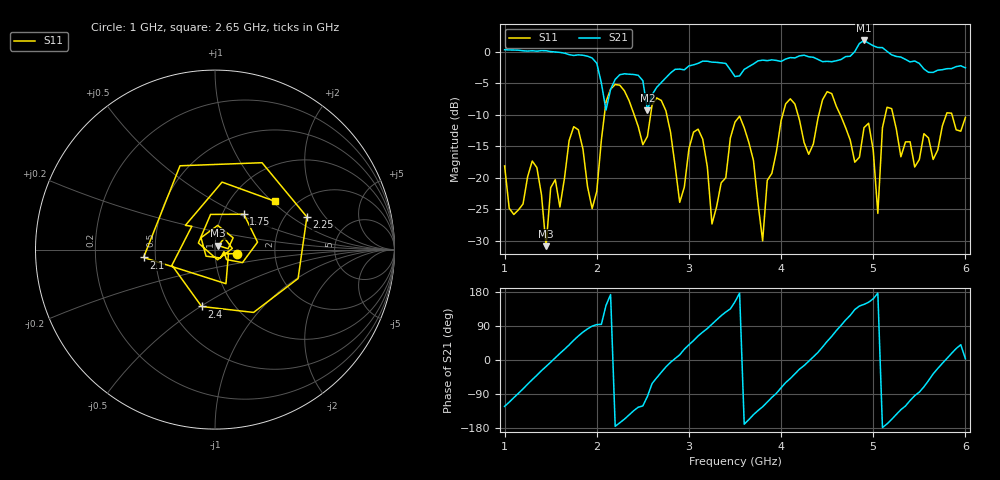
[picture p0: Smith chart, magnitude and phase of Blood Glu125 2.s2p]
! NanoVNA-App
! Date: 2024-03-21 00:08:20
! Start: 1GHz Stop: 6GHz Points: 101
! S-Parameter data: F S11 S21 S12 S22
# Hz S RI R 50
!	Frequency	S11_Real	S11_Imag	S21_Real	S21_Imag	S12_Real	S12_Imag	S22_Real	S22_Imag
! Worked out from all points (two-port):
!   101 points, 1 GHz to 6 GHz, reference 50 ohm
!   highest |S21| = 1.81 dB at 4.9 GHz (marker M1); lowest = -9.3 dB at 2.55 GHz (marker M2)
!   |S21| within 3 dB of the highest: start of sweep to 1.963 GHz; 4.653 GHz to 5.348 GHz (695.5 MHz wide, 13.9 % of centre)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
!   lowest |S11| = -30.9 dB at 1.45 GHz (marker M3), VSWR 1.06, Z = 51.7 + j2.33 ohm
!   |S11| at or under -10 dB: start of sweep to 2.083 GHz; 2.76 GHz to 4.018 GHz (1.258 GHz wide, 37.1 % of centre); 5.215 GHz to 5.792 GHz (577.1 MHz wide, 10.5 % of centre)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
!   S12 and S22 are empty: the file has one direction only
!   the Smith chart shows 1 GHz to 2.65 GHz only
!   S11 on the Smith chart (normalised r, x): 1 GHz: 1.28, -0.06; 1.75 GHz: 1.26, +0.53; 2.1 GHz: 0.43, -0.04; 2.25 GHz: 2.60, +1.34; 2.4 GHz: 0.71, -0.51; 2.65 GHz: 1.59, +1.05
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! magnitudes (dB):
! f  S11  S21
! 1 GHz  -18.1  0.3
! 1.45 GHz  -30.9  0.2
! 1.75 GHz  -11.9  -0.6
! 1.85 GHz  -15.4  -0.5
! 1.95 GHz  -24.9  -1.0
! 2.1 GHz  -7.9  -9.3
! 2.25 GHz  -5.3  -3.6
! 2.4 GHz  -9.7  -3.6
! 2.55 GHz  -13.4  -9.3
! 2.65 GHz  -7.3  -5.6
! 2.7 GHz  -7.7  -4.9
! 2.9 GHz  -23.9  -2.7
! 3.15 GHz  -13.9  -1.5
! 3.25 GHz  -27.3  -1.6
! 3.5 GHz  -11.1  -3.9
! 3.8 GHz  -30.0  -1.3
! 4.05 GHz  -8.3  -1.1
! 4.35 GHz  -14.6  -0.9
! 4.9 GHz  -12.0  1.8
! 5.05 GHz  -25.7  0.7
! 5.2 GHz  -9.0  -0.5
! 6 GHz  -10.4  -2.5
